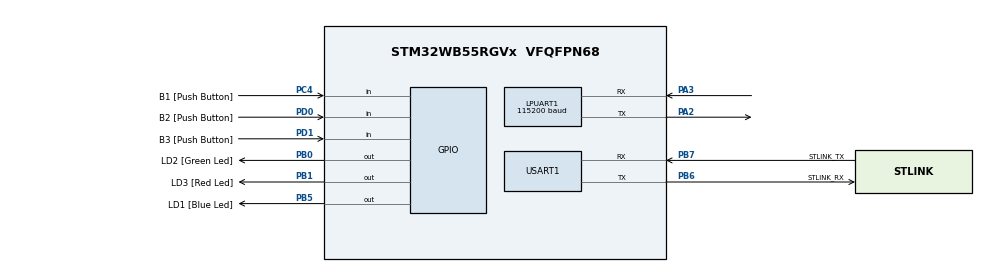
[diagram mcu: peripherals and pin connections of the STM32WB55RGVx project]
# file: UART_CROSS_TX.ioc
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LPUART1.BaudRate=115200
Mcu.Family=STM32WB
Mcu.Name=STM32WB55RGVx
Mcu.Package=VFQFPN68
NVIC.LPUART1_IRQn=true\:0\:0\:false\:false\:true\:true\:true\:true
NVIC.PriorityGroup=NVIC_PRIORITYGROUP_4
NVIC.USART1_IRQn=true\:0\:0\:false\:false\:true\:true\:true\:true
OSC_IN.GPIO_Label=RCC_OSC_IN
OSC_IN.Signal=RCC_OSC_IN
OSC_OUT.GPIO_Label=RCC_OSC_OUT
OSC_OUT.Signal=RCC_OSC_OUT
PA11.GPIO_Label=USB_DM
PA11.Signal=USB_DM
PA12.GPIO_Label=USB_DP
PA12.Signal=USB_DP
PA13.GPIO_Label=JTMS
PA13.Signal=SYS_JTMS-SWDIO
PA14.GPIO_Label=JTCK
PA14.Signal=SYS_JTCK-SWCLK
PA2.Mode=Asynchronous
PA2.Signal=LPUART1_TX
PA3.Mode=Asynchronous
PA3.Signal=LPUART1_RX
PB0.GPIO_Label=LD2 [Green Led]
PB0.Signal=GPIO_Output
PB1.GPIO_Label=LD3 [Red Led]
PB1.Signal=GPIO_Output
PB3.GPIO_Label=JTDO
PB3.Signal=SYS_JTDO-SWO
PB5.GPIO_Label=LD1 [Blue Led]
PB5.Signal=GPIO_Output
PB6.GPIO_Label=STLINK_RX
PB6.Mode=Asynchronous
PB6.Signal=USART1_TX
PB7.GPIO_Label=STLINK_TX
PB7.Mode=Asynchronous
PB7.Signal=USART1_RX
PC13.GPIO_Label=SYS_WKUP2
PC13.Signal=SYS_WKUP2
PC14-OSC32_IN.GPIO_Label=RCC_OSC32_IN
PC14-OSC32_IN.Signal=RCC_OSC32_IN
PC15-OSC32_OUT.GPIO_Label=RCC_OSC32_OUT
PC15-OSC32_OUT.Signal=RCC_OSC32_OUT
PC4.GPIO_Label=B1 [Push Button]
PC4.Signal=GPIO_Input
PD0.GPIO_Label=B2 [Push Button]
PD0.Signal=GPIO_Input
PD1.GPIO_Label=B3 [Push Button]
PD1.Signal=GPIO_Input
ProjectManager.HeapSize=0x200
ProjectManager.StackSize=0x400
ProjectManager.TargetToolchain=STM32CubeIDE
RCC.ADCFreq_Value=128000000
RCC.AHBFreq_Value=32000000
RCC.APB1Freq_Value=32000000
RCC.APB1TimFreq_Value=32000000
RCC.APB2Freq_Value=32000000
RCC.APB2TimFreq_Value=32000000
RCC.APB3Freq_Value=16000000
RCC.CortexFreq_Value=32000000
RCC.HCLKFreq_Value=32000000
RCC.HSE_VALUE=32000000
RCC.HSI48_VALUE=48000000
RCC.HSI_VALUE=16000000
RCC.LSE_VALUE=32768
RCC.MSIClockRange=RCC_MSIRANGE_10
RCC.SMPSCLockSelection=RCC_SMPSCLKSOURCE_HSI
RCC.SMPSCLockSelectionVirtual=RCC_SMPSCLKSOURCE_HSI
RCC.SMPSCLockSelectionVirtualVirtual=RCC_SMPSCLKSOURCE_HSI
RCC.SMPSDivider=1
RCC.SYSCLKFreq_VALUE=32000000
RCC.USBFreq_Value=128000000
RCC.VCOOutputFreq_Value=256000000
USART1.VirtualMode-Asynchronous=VM_ASYNC
VP_MEMORYMAP_VS_MEMORYMAP.Mode=CurAppReg
board=NUCLEO-WB55RG

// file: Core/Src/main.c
/* USER CODE BEGIN Header */
/**
 ******************************************************************************
 * @file           : main.c
 * @brief          : Main program body
 ******************************************************************************
 * @attention
 *
 * Copyright (c) 2025 STMicroelectronics.
 * All rights reserved.
 *
 * This software is licensed under terms that can be found in the LICENSE file
 * in the root directory of this software component.
 * If no LICENSE file comes with this software, it is provided AS-IS.
 *
 ******************************************************************************
 */
/* USER CODE END Header */
#include "main.h"

/* USER CODE BEGIN Includes */
#include "string.h"
#include "stdio.h"
#include "logger.h"
#include "logger_lpuart.h"
#include "stdlib.h"
/* USER CODE END Includes */

/* USER CODE BEGIN PTD */
UART_HandleTypeDef huart1; // ECRAN (USART1 PB6/PB7)
UART_HandleTypeDef hlpuart1;

typedef enum {
	MODE_DISPLAY = 0,   // affichage normal des valeurs
	MODE_ASK_VTH,       // l’écran demande "Entrez Vth"
	MODE_WAIT_VTH       // on attend l’entrée clavier
} ui_mode_t;

#define VTH      1800
/* USER CODE END PTD */

/* USER CODE BEGIN PD */
#define RXBUF_SZ 128
#define MSG_SIZE 64

/* USER CODE END PD */

UART_HandleTypeDef hlpuart1;
UART_HandleTypeDef huart1;

/* USER CODE BEGIN PV */
ui_mode_t ui_mode = MODE_DISPLAY;
/* USER CODE END PV */

void SystemClock_Config(void);
void PeriphCommonClock_Config(void);
static void MX_GPIO_Init(void);
static void MX_USART1_UART_Init(void);
static void MX_LPUART1_UART_Init(void);
/* USER CODE BEGIN PFP */
static uint8_t  rx_byte = 0;
static char     rxbuf[RXBUF_SZ];
static volatile uint16_t rxlen = 0;
static volatile uint8_t  line_ready = 0;
volatile uint8_t intro_done = 0;
uint8_t rxChar;           // un caractère
char rxBuffer[100];       // message complet
uint8_t indexRx = 0;
volatile uint8_t messageReady = 0;
uint8_t  messageStarted = 0;
volatile uint8_t ackTxDone = 1;

static uint32_t pv1 = 0, pv2 = 0, pv3 = 0,  pv4 = 0; // dernières valeurs (mV)
static uint32_t last = 0;
char msg[MSG_SIZE];

static void ep_show_ask_vth(void);
/* USER CODE END PFP */

/* USER CODE BEGIN 0 */

void HAL_UART_RxCpltCallback(UART_HandleTypeDef *huart){
	if (huart == &hlpuart1) {
		if (!line_ready) {
			if (rx_byte == '\n') {                 // fin de ligne
				if (rxlen < RXBUF_SZ) rxbuf[rxlen] = 0;
				line_ready = 1;
			} else if (rx_byte != '\r') {
				if (rxlen < RXBUF_SZ - 1) rxbuf[rxlen++] = (char)rx_byte;
				else rxlen = 0; // overflow -> reset
			}
		}
		HAL_UART_Receive_IT(&hlpuart1, &rx_byte, 1);
	}

	else if(huart->Instance == USART1)
	{
		// Ignorer octets nuls ou parasites
		if (rxChar == '\0') {
			HAL_UART_Receive_IT(&huart1, &rxChar, 1);
			return;
		}

		// Détection du début de message
		if (rxChar == '#') {
			indexRx = 0;
			messageStarted = 1;  // On a vu le marqueur
		}
		else if (messageStarted) {
			// On commence à enregistrer seulement après le '#'
			if (rxChar == '\n') {   // Fin de message
				if (indexRx > 0) {
					rxBuffer[indexRx] = '\0';
					messageReady = 1;
				}
				messageStarted = 0; // On attend un nouveau '#'
				indexRx = 0;
			}
			else if (rxChar != '\r') {
				if (indexRx < sizeof(rxBuffer) - 1)
					rxBuffer[indexRx++] = rxChar;
				else
					indexRx = 0; // Sécurité : reset en cas de débordement
			}
		}

		// Relancer la réception du prochain octet
		HAL_UART_Receive_IT(&huart1, &rxChar, 1);
	}
}

// Trame: A5 | Len(2) | Cmd | payload | CC 33 C3 3C | XOR (sur tout sauf XOR lui-même)
static HAL_StatusTypeDef EP_SendFrame(uint8_t cmd, const uint8_t *payload, uint16_t plen)
{
	const uint8_t HEAD = 0xA5;
	const uint8_t TAIL[4] = {0xCC,0x33,0xC3,0x3C};
	uint16_t total = 1 + 2 + 1 + plen + 4 + 1;

	uint8_t buf[1 + 2 + 1 + 1024 + 4 + 1];
	uint16_t i=0;
	buf[i++]=HEAD;
	buf[i++]=(uint8_t)(total>>8);
	buf[i++]=(uint8_t)(total&0xFF);
	buf[i++]=cmd;
	if(plen && payload){ memcpy(&buf[i], payload, plen); i+=plen; }
	memcpy(&buf[i], TAIL, 4); i+=4;

	uint8_t x=0; for(uint16_t k=0;k<i;k++) x ^= buf[k];
	buf[i++]=x;

	return HAL_UART_Transmit(&hlpuart1, buf, i, 1000);
}

static void EP_Handshake(void){ EP_SendFrame(0x00,NULL,0); }
static void EP_Refresh (void){ EP_SendFrame(0x0A,NULL,0); }
static void EP_Clear   (void){ EP_SendFrame(0x2E,NULL,0); }
static void EP_SetPalette(uint8_t fg,uint8_t bg){ uint8_t p[2]={fg,bg}; EP_SendFrame(0x10,p,2); }
static void EP_SetFont(uint8_t idx){ uint8_t p[1]={idx}; EP_SendFrame(0x1E,p,1); } // 1:32,2:48,3:64

static void EP_DrawString(uint16_t x,uint16_t y,const char *s){
	uint16_t slen = (uint16_t)strlen(s)+1;
	uint8_t payload[4+1024];
	payload[0]=x>>8; payload[1]=x&0xFF;
	payload[2]=y>>8; payload[3]=y&0xFF;
	memcpy(&payload[4], s, slen);
	EP_SendFrame(0x30, payload, 4+slen);
}

// Boot "soft" : double handshake + clear + refresh
static void EP_BootSoft(void)
{
	EP_Handshake(); HAL_Delay(100);
	EP_Handshake(); HAL_Delay(100);
	EP_SetPalette(0x00,0x03); // noir/blanc
	EP_Clear();
	EP_SetFont(2);            // 48 points
	EP_Refresh();
}

static uint8_t parse_values(const char *s, uint32_t *v1, uint32_t *v2, uint32_t *v3, uint32_t *hid){
	if(s[0] != '#') return 0;
	const char *p1 = strstr(s,"VG="), *p2 = strstr(s,"VS="), *p3 = strstr(s,"VD="), *p4 = strstr(s,"Id=");
	if(!p1 || !p2 || !p3 || !p4) return 0;
	*v1 = strtoul(p1+3, NULL, 10);
	*v2 = strtoul(p2+3, NULL, 10);
	*v3 = strtoul(p3+3, NULL, 10);
	*hid = strtoul(p4+3, NULL, 10);
	return 1;
}

static void ep_show_intro(void){
	EP_Clear();
	EP_SetFont(2); // 48 pts

	EP_DrawString(100, 120, "CONFIGURATION MOSFET");
	EP_DrawString(100, 200, "Type: NMOS pedagogique");
	EP_DrawString(100, 280, "Seuil (Vth) = 1.8 V");
	EP_DrawString(100, 360, "Entrees: VG - VS - VD");
	EP_DrawString(100, 440, "Sortie: ID (mA)");

	EP_Refresh();
}

static void ep_show_values(uint32_t v1, uint32_t v2, uint32_t v3, uint32_t hid){
	/*char l1[40], l2[40], l3[40], l4[40];
  snprintf(l1,sizeof(l1),"VG = %lu mV", (unsigned long)v1);
  snprintf(l2,sizeof(l2),"VS = %lu mV", (unsigned long)v2);
  snprintf(l3,sizeof(l3),"VD = %lu  mV", (unsigned long)v3);
  snprintf(l4,sizeof(l4),"Id = %lu mA", (unsigned long)hid);
  EP_Clear();
  EP_SetFont(2);                   // 48 points
  EP_DrawString(30, 160, l1);     // 800x600
  EP_DrawString(30, 240, l2);
  EP_DrawString(30, 320, l3);
  EP_DrawString(30, 400, l4);
  EP_Refresh();*/

	EP_Clear();
	EP_SetFont(2);  // police 48 pts

	// Cadre supérieur
	EP_DrawString(20, 120,  "+------------------------------+");
	EP_DrawString(20, 160,  "| Parameter       |      Values      ");
	EP_DrawString(20, 200,  "+-----------+------------------+");

	char line[64];

	// Ligne VG
	snprintf(line, sizeof(line), "|   VG                       |   %4lu mV       ", (unsigned long)v1);
	EP_DrawString(20, 240, line);

	// Ligne VS
	snprintf(line, sizeof(line), "|   VS                       |   %4lu mV       ", (unsigned long)v2);
	EP_DrawString(20, 280, line);

	// Ligne VD
	snprintf(line, sizeof(line), "|   VD                       |   %4lu mV       ", (unsigned long)v3);
	EP_DrawString(20, 320, line);

	// VGS (calcul local)
	uint32_t vgs = (v1 > v2 ? v1 - v2 : 0);
	snprintf(line, sizeof(line), "|   VGS                    |   %4lu mV       ", (unsigned long)vgs);
	EP_DrawString(20, 360, line);

	// VDS
	uint32_t vds = (v3 > v2 ? v3 - v2 : 0);
	snprintf(line, sizeof(line), "|   VDS                    |   %4lu mV       ", (unsigned long)vds);
	EP_DrawString(20, 400, line);

	// ID
	snprintf(line, sizeof(line), "|   Id                       |   %4lu mA       ", (unsigned long)hid);
	EP_DrawString(20, 440, line);

	// Bas du tableau
	EP_DrawString(20, 480, "+------------------------------+");

	EP_Refresh();
}

static void ep_show_ask_vth(void){
	EP_Clear();
	EP_SetFont(2);
	EP_DrawString(50, 200, "Entrer nouvelle valeur de Vth");
	EP_DrawString(50, 280, "en mV puis pressez ENTREE");
	EP_Refresh();
}

void HAL_UART_ErrorCallback(UART_HandleTypeDef *huart){
	if (huart->Instance == USART1) {
		__HAL_UART_CLEAR_OREFLAG(huart); // Overrun
		__HAL_UART_CLEAR_FEFLAG(huart);  // Framing
		__HAL_UART_CLEAR_NEFLAG(huart);  // Noise
		HAL_UART_Receive_IT(&huart1, &rxChar, 1);
	}
}

/* USER CODE END 0 */

int main(void)
{

  /* MCU Configuration--------------------------------------------------------*/

  /* Reset of all peripherals, Initializes the Flash interface and the Systick. */
  HAL_Init();

  /* Configure the system clock */
  SystemClock_Config();

  /* Configure the peripherals common clocks */
  PeriphCommonClock_Config();

  /* Initialize all configured peripherals */
  MX_GPIO_Init();
  MX_USART1_UART_Init();
  MX_LPUART1_UART_Init();
  /* USER CODE BEGIN 2 */
	MX_LPUART1_UART_Init();

	HAL_UART_AbortReceive_IT(&hlpuart1);
	HAL_UART_AbortReceive_IT(&huart1);

	ep_show_intro();
	HAL_Delay(10000);
	intro_done = 1;
	HAL_UART_Receive_IT(&hlpuart1, &rx_byte, 1);

	EP_BootSoft();

	log_init(&huart1);
	HAL_UART_Receive_IT(&huart1, &rxChar, 1);
	log_printf("Received From L432KC to WB55RG: %s\r\n", rxBuffer);

	HAL_UART_Receive_IT(&hlpuart1, &rx_byte, 1);

	// Démarre la réception LPUART1 (depuis L432KC)
	rxlen = 0; line_ready = 0;
	//HAL_UART_Receive_IT(&hlpuart1, &rx_byte, 1);

	last = HAL_GetTick();

  /* USER CODE END 2 */

  /* Infinite loop */
  /* USER CODE BEGIN WHILE */
	while (1)
	{

		if (messageReady)
		{
			log_printf("Received From L432KC to WB55RG: %s\r\n", rxBuffer);

			// 1) Copie dans rxbuf → format compatible parse_values()
			int n = snprintf(rxbuf, RXBUF_SZ, "#%s\n", rxBuffer);

			// 2) Signale à la logique WaveChart qu’une ligne est prête
			rxlen = n;
			line_ready = 1;

			// 3) Reset flags
			messageReady = 0;
			indexRx = 0;
			memset(rxBuffer, 0, sizeof(rxBuffer));
		}

		uint32_t v1, v2, v3, hid;
		if (line_ready) {

			// ----- 1) commande spéciale : SETVTH -----
			if (strcmp(rxbuf, "SETVTH") == 0) {
				ui_mode = MODE_ASK_VTH;
				ep_show_ask_vth();

				rxlen = 0;
				line_ready = 0;
				continue;
			}

			// ----- 2) si on attend une valeur pour Vth -----
			if (ui_mode == MODE_ASK_VTH) {
				uint32_t newVth_mV = strtoul(rxbuf, NULL, 10);

				if (newVth_mV > 100 && newVth_mV < 5000) {
					char cmd[32];
					snprintf(cmd, sizeof(cmd), "#SETVTH=%lu\n", newVth_mV);
					HAL_UART_Transmit(&hlpuart1, (uint8_t*)cmd, strlen(cmd), HAL_MAX_DELAY);
				}
				ui_mode = MODE_DISPLAY;
				rxlen = 0;
				line_ready = 0;
				continue;
			}

			//uint32_t v1, v2, v3, hid;
			if (parse_values(rxbuf, &v1, &v2, &v3, &hid)) {
				pv1 = v1; pv2 = v2; pv3 = v3; pv4 = hid;
			}
			rxlen = 0; line_ready = 0;
			//HAL_GPIO_WritePin(GPIOB, LD1_Pin|LD2_Pin|LD3_Pin, GPIO_PIN_RESET);

			uint32_t vgs = (v1 > v2 ? v1 - v2 : 0);
			uint32_t vds = (v3 > v2 ? v3 - v2 : 0);
			if (vgs < VTH) {
				HAL_GPIO_WritePin(GPIOB, LD1_Pin|LD2_Pin, GPIO_PIN_RESET);
				HAL_GPIO_TogglePin(GPIOB, LD3_Pin);

			}
			else if (vds <= 0.02f) {
				HAL_GPIO_WritePin(GPIOB, LD1_Pin|LD2_Pin|LD3_Pin, GPIO_PIN_RESET);
			}
			else {
				float vgt = vgs - VTH;
				if (vds <= vgt){
					HAL_GPIO_WritePin(GPIOB, LD1_Pin|LD3_Pin, GPIO_PIN_RESET);
					HAL_GPIO_TogglePin(GPIOB, LD2_Pin);

				}
				else{
					HAL_GPIO_WritePin(GPIOB, LD2_Pin|LD3_Pin, GPIO_PIN_RESET);
					HAL_GPIO_TogglePin(GPIOB, LD1_Pin);

				}
			}
		}

		// Rafraîchit l’écran toutes les ~2 s (évite ghosting/lenteur e-paper)
		if (intro_done && HAL_GetTick() - last > 10000) {
			ep_show_values(pv1, pv2, pv3, pv4);
			last = HAL_GetTick();
		}
    /* USER CODE END WHILE */

	}
}

void SystemClock_Config(void)
{
  RCC_OscInitTypeDef RCC_OscInitStruct = {0};
  RCC_ClkInitTypeDef RCC_ClkInitStruct = {0};

  /** Configure the main internal regulator output voltage
  */
  __HAL_PWR_VOLTAGESCALING_CONFIG(PWR_REGULATOR_VOLTAGE_SCALE1);

  /** Initializes the RCC Oscillators according to the specified parameters
  * in the RCC_OscInitTypeDef structure.
  */
  RCC_OscInitStruct.OscillatorType = RCC_OSCILLATORTYPE_HSI|RCC_OSCILLATORTYPE_MSI;
  RCC_OscInitStruct.HSIState = RCC_HSI_ON;
  RCC_OscInitStruct.MSIState = RCC_MSI_ON;
  RCC_OscInitStruct.HSICalibrationValue = RCC_HSICALIBRATION_DEFAULT;
  RCC_OscInitStruct.MSICalibrationValue = RCC_MSICALIBRATION_DEFAULT;
  RCC_OscInitStruct.MSIClockRange = RCC_MSIRANGE_10;
  RCC_OscInitStruct.PLL.PLLState = RCC_PLL_NONE;
  if (HAL_RCC_OscConfig(&RCC_OscInitStruct) != HAL_OK)
  {
    Error_Handler();
  }

  /** Configure the SYSCLKSource, HCLK, PCLK1 and PCLK2 clocks dividers
  */
  RCC_ClkInitStruct.ClockType = RCC_CLOCKTYPE_HCLK4|RCC_CLOCKTYPE_HCLK2
                              |RCC_CLOCKTYPE_HCLK|RCC_CLOCKTYPE_SYSCLK
                              |RCC_CLOCKTYPE_PCLK1|RCC_CLOCKTYPE_PCLK2;
  RCC_ClkInitStruct.SYSCLKSource = RCC_SYSCLKSOURCE_MSI;
  RCC_ClkInitStruct.AHBCLKDivider = RCC_SYSCLK_DIV1;
  RCC_ClkInitStruct.APB1CLKDivider = RCC_HCLK_DIV1;
  RCC_ClkInitStruct.APB2CLKDivider = RCC_HCLK_DIV1;
  RCC_ClkInitStruct.AHBCLK2Divider = RCC_SYSCLK_DIV1;
  RCC_ClkInitStruct.AHBCLK4Divider = RCC_SYSCLK_DIV1;

  if (HAL_RCC_ClockConfig(&RCC_ClkInitStruct, FLASH_LATENCY_1) != HAL_OK)
  {
    Error_Handler();
  }
}

void PeriphCommonClock_Config(void)
{
  RCC_PeriphCLKInitTypeDef PeriphClkInitStruct = {0};

  /** Initializes the peripherals clock
  */
  PeriphClkInitStruct.PeriphClockSelection = RCC_PERIPHCLK_SMPS;
  PeriphClkInitStruct.SmpsClockSelection = RCC_SMPSCLKSOURCE_HSI;
  PeriphClkInitStruct.SmpsDivSelection = RCC_SMPSCLKDIV_RANGE0;

  if (HAL_RCCEx_PeriphCLKConfig(&PeriphClkInitStruct) != HAL_OK)
  {
    Error_Handler();
  }
}

static void MX_LPUART1_UART_Init(void)
{

  hlpuart1.Instance = LPUART1;
  hlpuart1.Init.BaudRate = 115200;
  hlpuart1.Init.WordLength = UART_WORDLENGTH_8B;
  hlpuart1.Init.StopBits = UART_STOPBITS_1;
  hlpuart1.Init.Parity = UART_PARITY_NONE;
  hlpuart1.Init.Mode = UART_MODE_TX_RX;
  hlpuart1.Init.HwFlowCtl = UART_HWCONTROL_NONE;
  hlpuart1.Init.OneBitSampling = UART_ONE_BIT_SAMPLE_DISABLE;
  hlpuart1.Init.ClockPrescaler = UART_PRESCALER_DIV1;
  hlpuart1.AdvancedInit.AdvFeatureInit = UART_ADVFEATURE_NO_INIT;
  hlpuart1.FifoMode = UART_FIFOMODE_DISABLE;
  if (HAL_UART_Init(&hlpuart1) != HAL_OK)
  {
    Error_Handler();
  }
  if (HAL_UARTEx_SetTxFifoThreshold(&hlpuart1, UART_TXFIFO_THRESHOLD_1_8) != HAL_OK)
  {
    Error_Handler();
  }
  if (HAL_UARTEx_SetRxFifoThreshold(&hlpuart1, UART_RXFIFO_THRESHOLD_1_8) != HAL_OK)
  {
    Error_Handler();
  }
  if (HAL_UARTEx_DisableFifoMode(&hlpuart1) != HAL_OK)
  {
    Error_Handler();
  }

}

static void MX_USART1_UART_Init(void)
{

  huart1.Instance = USART1;
  huart1.Init.BaudRate = 115200;
  huart1.Init.WordLength = UART_WORDLENGTH_8B;
  huart1.Init.StopBits = UART_STOPBITS_1;
  huart1.Init.Parity = UART_PARITY_NONE;
  huart1.Init.Mode = UART_MODE_TX_RX;
  huart1.Init.HwFlowCtl = UART_HWCONTROL_NONE;
  huart1.Init.OverSampling = UART_OVERSAMPLING_16;
  huart1.Init.OneBitSampling = UART_ONE_BIT_SAMPLE_DISABLE;
  huart1.Init.ClockPrescaler = UART_PRESCALER_DIV1;
  huart1.AdvancedInit.AdvFeatureInit = UART_ADVFEATURE_NO_INIT;
  if (HAL_UART_Init(&huart1) != HAL_OK)
  {
    Error_Handler();
  }
  if (HAL_UARTEx_SetTxFifoThreshold(&huart1, UART_TXFIFO_THRESHOLD_1_8) != HAL_OK)
  {
    Error_Handler();
  }
  if (HAL_UARTEx_SetRxFifoThreshold(&huart1, UART_RXFIFO_THRESHOLD_1_8) != HAL_OK)
  {
    Error_Handler();
  }
  if (HAL_UARTEx_DisableFifoMode(&huart1) != HAL_OK)
  {
    Error_Handler();
  }

}

static void MX_GPIO_Init(void)
{
  GPIO_InitTypeDef GPIO_InitStruct = {0};

  /* GPIO Ports Clock Enable */
  __HAL_RCC_GPIOC_CLK_ENABLE();
  __HAL_RCC_GPIOA_CLK_ENABLE();
  __HAL_RCC_GPIOB_CLK_ENABLE();
  __HAL_RCC_GPIOD_CLK_ENABLE();

  /*Configure GPIO pin Output Level */
  HAL_GPIO_WritePin(GPIOB, LD2_Pin|LD3_Pin|LD1_Pin, GPIO_PIN_RESET);

  /*Configure GPIO pin : B1_Pin */
  GPIO_InitStruct.Pin = B1_Pin;
  GPIO_InitStruct.Mode = GPIO_MODE_INPUT;
  GPIO_InitStruct.Pull = GPIO_NOPULL;
  HAL_GPIO_Init(B1_GPIO_Port, &GPIO_InitStruct);

  /*Configure GPIO pins : LD2_Pin LD3_Pin LD1_Pin */
  GPIO_InitStruct.Pin = LD2_Pin|LD3_Pin|LD1_Pin;
  GPIO_InitStruct.Mode = GPIO_MODE_OUTPUT_PP;
  GPIO_InitStruct.Pull = GPIO_NOPULL;
  GPIO_InitStruct.Speed = GPIO_SPEED_FREQ_LOW;
  HAL_GPIO_Init(GPIOB, &GPIO_InitStruct);

  /*Configure GPIO pins : USB_DM_Pin USB_DP_Pin */
  GPIO_InitStruct.Pin = USB_DM_Pin|USB_DP_Pin;
  GPIO_InitStruct.Mode = GPIO_MODE_AF_PP;
  GPIO_InitStruct.Pull = GPIO_NOPULL;
  GPIO_InitStruct.Speed = GPIO_SPEED_FREQ_LOW;
  GPIO_InitStruct.Alternate = GPIO_AF10_USB;
  HAL_GPIO_Init(GPIOA, &GPIO_InitStruct);

  /*Configure GPIO pins : B2_Pin B3_Pin */
  GPIO_InitStruct.Pin = B2_Pin|B3_Pin;
  GPIO_InitStruct.Mode = GPIO_MODE_INPUT;
  GPIO_InitStruct.Pull = GPIO_NOPULL;
  HAL_GPIO_Init(GPIOD, &GPIO_InitStruct);

  /* USER CODE BEGIN MX_GPIO_Init_2 */
	// USART1 -> écran sur PB6/PB7

	GPIO_InitStruct.Pin = GPIO_PIN_6 | GPIO_PIN_7;
	GPIO_InitStruct.Mode = GPIO_MODE_AF_PP;
	GPIO_InitStruct.Pull = GPIO_NOPULL;
	GPIO_InitStruct.Speed = GPIO_SPEED_FREQ_LOW;
	GPIO_InitStruct.Alternate = GPIO_AF7_USART1;   // PB6/PB7 = AF7 pour USART1
	HAL_GPIO_Init(GPIOB, &GPIO_InitStruct);

	// LPUART1 -> lien L432KC sur PB10/PB11
	GPIO_InitStruct.Pin = GPIO_PIN_10 | GPIO_PIN_11;
	GPIO_InitStruct.Mode = GPIO_MODE_AF_PP;
	GPIO_InitStruct.Pull = GPIO_NOPULL;
	GPIO_InitStruct.Speed = GPIO_SPEED_FREQ_LOW;
	GPIO_InitStruct.Alternate = GPIO_AF8_LPUART1;  // PB10/PB11 = AF8 pour LPUART1
	HAL_GPIO_Init(GPIOB, &GPIO_InitStruct);

  /* USER CODE END MX_GPIO_Init_2 */
}

void Error_Handler(void)
{
	__disable_irq();
	while (1)
	{
	}
}
